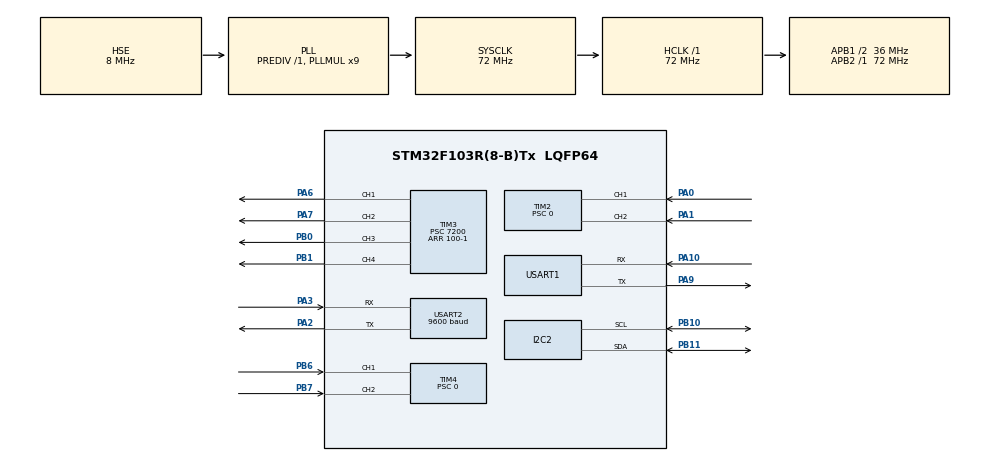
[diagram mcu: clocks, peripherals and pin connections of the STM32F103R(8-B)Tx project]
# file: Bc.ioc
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Mcu.Family=STM32F1
Mcu.Name=STM32F103R(8-B)Tx
Mcu.Package=LQFP64
NVIC.PriorityGroup=NVIC_PRIORITYGROUP_4
NVIC.TIM1_UP_IRQn=true\:1\:0\:true\:false\:true\:true\:true
NVIC.TIM2_IRQn=true\:0\:0\:false\:false\:true\:true\:true
NVIC.TIM3_IRQn=true\:0\:0\:false\:false\:true\:true\:true
NVIC.TIM4_IRQn=true\:0\:0\:false\:false\:true\:true\:true
PA0-WKUP.Signal=S_TIM2_CH1_ETR
PA1.Signal=S_TIM2_CH2
PA10.Mode=Asynchronous
PA10.Signal=USART1_RX
PA13.Mode=Serial_Wire
PA13.Signal=SYS_JTMS-SWDIO
PA14.Mode=Serial_Wire
PA14.Signal=SYS_JTCK-SWCLK
PA2.Mode=Asynchronous
PA2.Signal=USART2_TX
PA3.Mode=Asynchronous
PA3.Signal=USART2_RX
PA6.Signal=S_TIM3_CH1
PA7.Signal=S_TIM3_CH2
PA9.Mode=Asynchronous
PA9.Signal=USART1_TX
PB0.Signal=S_TIM3_CH3
PB1.Signal=S_TIM3_CH4
PB10.Mode=I2C
PB10.Signal=I2C2_SCL
PB11.Mode=I2C
PB11.Signal=I2C2_SDA
PB6.Signal=S_TIM4_CH1
PB7.Signal=S_TIM4_CH2
PD0-OSC_IN.Mode=HSE-External-Oscillator
PD0-OSC_IN.Signal=RCC_OSC_IN
PD1-OSC_OUT.Mode=HSE-External-Oscillator
PD1-OSC_OUT.Signal=RCC_OSC_OUT
ProjectManager.HeapSize=0x200
ProjectManager.StackSize=0x400
ProjectManager.TargetToolchain=MDK-ARM V5.27
RCC.AHBFreq_Value=72000000
RCC.APB1CLKDivider=RCC_HCLK_DIV2
RCC.APB1Freq_Value=36000000
RCC.APB1TimFreq_Value=72000000
RCC.APB2Freq_Value=72000000
RCC.APB2TimFreq_Value=72000000
RCC.HCLKFreq_Value=72000000
RCC.PLLMUL=RCC_PLL_MUL9
RCC.PLLSourceVirtual=RCC_PLLSOURCE_HSE
RCC.SYSCLKFreq_VALUE=72000000
RCC.SYSCLKSource=RCC_SYSCLKSOURCE_PLLCLK
RCC.USBFreq_Value=72000000
SH.S_TIM2_CH1_ETR.0=TIM2_CH1,Encoder_Interface
SH.S_TIM2_CH2.0=TIM2_CH2,Encoder_Interface
SH.S_TIM3_CH1.0=TIM3_CH1,PWM Generation1 CH1
SH.S_TIM3_CH2.0=TIM3_CH2,PWM Generation2 CH2
SH.S_TIM3_CH3.0=TIM3_CH3,PWM Generation3 CH3
SH.S_TIM3_CH4.0=TIM3_CH4,PWM Generation4 CH4
SH.S_TIM4_CH1.0=TIM4_CH1,Encoder_Interface
SH.S_TIM4_CH2.0=TIM4_CH2,Encoder_Interface
TIM1.AutoReloadPreload=TIM_AUTORELOAD_PRELOAD_ENABLE
TIM1.Period=999
TIM1.Prescaler=720
TIM2.AutoReloadPreload=TIM_AUTORELOAD_PRELOAD_DISABLE
TIM2.EncoderMode=TIM_ENCODERMODE_TI12
TIM2.Prescaler=0
TIM3.AutoReloadPreload=TIM_AUTORELOAD_PRELOAD_DISABLE
TIM3.Channel-PWM\ Generation1\ CH1=TIM_CHANNEL_1
TIM3.Channel-PWM\ Generation2\ CH2=TIM_CHANNEL_2
TIM3.Channel-PWM\ Generation3\ CH3=TIM_CHANNEL_3
TIM3.Channel-PWM\ Generation4\ CH4=TIM_CHANNEL_4
TIM3.Period=100-1
TIM3.Prescaler=7200
TIM4.AutoReloadPreload=TIM_AUTORELOAD_PRELOAD_DISABLE
TIM4.EncoderMode=TIM_ENCODERMODE_TI12
TIM4.Prescaler=0
USART1.VirtualMode=VM_ASYNC
USART2.BaudRate=9600
USART2.VirtualMode=VM_ASYNC
VP_TIM1_VS_ClockSourceINT.Mode=Internal
board=custom

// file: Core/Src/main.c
/* USER CODE BEGIN Header */
/**
  ******************************************************************************
  * @file           : main.c
  * @brief          : Main program body
  ******************************************************************************
  * @attention
  *
  * <h2><center>&copy; Copyright (c) 2021 STMicroelectronics.
  * All rights reserved.</center></h2>
  *
  * This software component is licensed by ST under BSD 3-Clause license,
  * the "License"; You may not use this file except in compliance with the
  * License. You may obtain a copy of the License at:
  *                        opensource.org/licenses/BSD-3-Clause
  *
  ******************************************************************************
  */
/* USER CODE END Header */
#include "main.h"
#include "i2c.h"
#include "tim.h"
#include "usart.h"
#include "gpio.h"

/* USER CODE BEGIN Includes */
	#include "bsp_imu.h"
	#include "stdio.h"
	#include "pid.h"
	#include "math.h"
/* USER CODE END Includes */

/* USER CODE BEGIN PV */
fp32 MotorSpeed1 = 0, MotorSpeed2 = 0;//寄存器CNT的值是16位在后面的printf中强转为int
fp32 PWM = 0;
fp32 speed_pid_parameters[] = {10,0.00001,0};// 0.0001
fp32 angle_pid_parameters[] = {0,0,0};//5.8 0 3.41
fp32 site_pid_parameters[] = {0,0,0};//800 0 400
//int16_t Number = 0;
int Target = 10;
fp32 Angle = 0,Dn = 0;
/* USER CODE END PV */

void SystemClock_Config(void);

int main(void)
{

  /* MCU Configuration--------------------------------------------------------*/

  /* Reset of all peripherals, Initializes the Flash interface and the Systick. */
  HAL_Init();

  /* Configure the system clock */
  SystemClock_Config();

  /* Initialize all configured peripherals */
  MX_GPIO_Init();
  MX_I2C2_Init();
  MX_TIM2_Init();
  MX_TIM3_Init();
  MX_TIM4_Init();
  MX_USART1_UART_Init();
  MX_USART2_UART_Init();
  MX_TIM1_Init();
  /* USER CODE BEGIN 2 */
  MPU6050Init();
	HAL_TIM_Base_Start_IT(&htim1);
	HAL_TIM_PWM_Start(&htim3, TIM_CHANNEL_1);	    // TIM3_CH1(pwm)
	HAL_TIM_PWM_Start(&htim3, TIM_CHANNEL_2);	    // TIM3_CH2(pwm)
	HAL_TIM_PWM_Start(&htim3, TIM_CHANNEL_3);	    // TIM3_CH3(pwm)
  HAL_TIM_PWM_Start(&htim3, TIM_CHANNEL_4);	    // TIM3_CH4(pwm)
  HAL_TIM_Encoder_Start(&htim4, TIM_CHANNEL_1); // 电机1开启编码器AB
  HAL_TIM_Encoder_Start(&htim4, TIM_CHANNEL_2); // 电机1开启编码器AB
  HAL_TIM_Encoder_Start(&htim2, TIM_CHANNEL_1); // 电机1开启编码器AB
	HAL_TIM_Encoder_Start(&htim2, TIM_CHANNEL_2); // 电机2开启编码器AB
	PID_Init(&angle, PID_POSITION, angle_pid_parameters, 100, 100);//调？？速度max
  PID_Init(&speed, PID_POSITION, speed_pid_parameters,	100,100);//调？？PWM max
	PID_Init(&site, PID_POSITION, site_pid_parameters, 60000, 60000);//调？？速度max
  /* USER CODE END 2 */

  /* Infinite loop */
  while (1)
  {

    /* USER CODE BEGIN 3 */
		MPU6050ReturnData();
//		if(imu.rol>Angle)
//		{

//		}
//		else if(imu.rol<Angle)
//		{
//			__HAL_TIM_SET_COMPARE(&htim3, TIM_CHANNEL_1, 0);//
//			__HAL_TIM_SET_COMPARE(&htim3, TIM_CHANNEL_2, (int)abs(PWM));
//			__HAL_TIM_SET_COMPARE(&htim3, TIM_CHANNEL_3, 0);
//			__HAL_TIM_SET_COMPARE(&htim3, TIM_CHANNEL_4, (int)abs(PWM));
//		}
		printf("%d,%f,%f,%f\n",mpu_data.gx,MotorSpeed2,imu.rol,PWM);
		//int16_t PWM = angle.out;
		//int16_t PWM = A_PWM + S_PWM;
			//if(abs(PWM) > 80) PWM = 80;
		}
	HAL_Delay(5);
  /* USER CODE END 3 */
}

void SystemClock_Config(void)
{
  RCC_OscInitTypeDef RCC_OscInitStruct = {0};
  RCC_ClkInitTypeDef RCC_ClkInitStruct = {0};

  /** Initializes the RCC Oscillators according to the specified parameters
  * in the RCC_OscInitTypeDef structure.
  */
  RCC_OscInitStruct.OscillatorType = RCC_OSCILLATORTYPE_HSE;
  RCC_OscInitStruct.HSEState = RCC_HSE_ON;
  RCC_OscInitStruct.HSEPredivValue = RCC_HSE_PREDIV_DIV1;
  RCC_OscInitStruct.HSIState = RCC_HSI_ON;
  RCC_OscInitStruct.PLL.PLLState = RCC_PLL_ON;
  RCC_OscInitStruct.PLL.PLLSource = RCC_PLLSOURCE_HSE;
  RCC_OscInitStruct.PLL.PLLMUL = RCC_PLL_MUL9;
  if (HAL_RCC_OscConfig(&RCC_OscInitStruct) != HAL_OK)
  {
    Error_Handler();
  }
  /** Initializes the CPU, AHB and APB buses clocks
  */
  RCC_ClkInitStruct.ClockType = RCC_CLOCKTYPE_HCLK|RCC_CLOCKTYPE_SYSCLK
                              |RCC_CLOCKTYPE_PCLK1|RCC_CLOCKTYPE_PCLK2;
  RCC_ClkInitStruct.SYSCLKSource = RCC_SYSCLKSOURCE_PLLCLK;
  RCC_ClkInitStruct.AHBCLKDivider = RCC_SYSCLK_DIV1;
  RCC_ClkInitStruct.APB1CLKDivider = RCC_HCLK_DIV2;
  RCC_ClkInitStruct.APB2CLKDivider = RCC_HCLK_DIV1;

  if (HAL_RCC_ClockConfig(&RCC_ClkInitStruct, FLASH_LATENCY_2) != HAL_OK)
  {
    Error_Handler();
  }
}

/* USER CODE BEGIN 4 */
int fputc(int ch, FILE *f)
{
	HAL_UART_Transmit(&huart1,(uint8_t *)&ch,1,HAL_MAX_DELAY);
	return ch;
}

void HAL_TIM_PeriodElapsedCallback(TIM_HandleTypeDef *htim)
{//10ms
	if(htim ->Instance == TIM1)
	{
				MotorSpeed1 = __HAL_TIM_GET_COUNTER(&htim2);
				printf("%d,%f,%f,%f\n",mpu_data.gx,MotorSpeed1,imu.rol,PWM);
//			MotorSpeed1 = __HAL_TIM_GET_COUNTER(&htim2);//获得10ms采样脉冲cm/s
//			//Number += __HAL_TIM_GET_COUNTER(&htim2);
//			MotorSpeed1 = MotorSpeed1/48960*2*3.14*65/10*100;
//			MotorSpeed2 = __HAL_TIM_GET_COUNTER(&htim4);//只要测到脉冲就行，不用在定时器xS里获取值相除获取速度
//			MotorSpeed2 = MotorSpeed2/48960*2*3.14*65/10*100;
		  __HAL_TIM_SET_COUNTER(&htim2,0);  // 计数器清零
//		  __HAL_TIM_SET_COUNTER(&htim4,0);  // 计数器清零
//			PID_Calc(&speed, (MotorSpeed1 + MotorSpeed2)/10/2,0);
//			PID_Calc(&angle, imu.rol/2, Angle);
//			PWM = speed.out+ angle.out;
//		  if(abs(PWM)>=100) PWM = 100;
		PWM = 100;

__HAL_TIM_SET_COMPARE(&htim3, TIM_CHANNEL_1, abs(PWM));
			__HAL_TIM_SET_COMPARE(&htim3, TIM_CHANNEL_2, 0);
			__HAL_TIM_SET_COMPARE(&htim3, TIM_CHANNEL_3, abs(PWM));
			__HAL_TIM_SET_COMPARE(&htim3, TIM_CHANNEL_4, 0);
//		if(imu.rol > Angle+Dn)
//		{
//			__HAL_TIM_SET_COMPARE(&htim3, TIM_CHANNEL_1, abs(PWM));
//			__HAL_TIM_SET_COMPARE(&htim3, TIM_CHANNEL_2, 0);
//			__HAL_TIM_SET_COMPARE(&htim3, TIM_CHANNEL_3, abs(PWM));
//			__HAL_TIM_SET_COMPARE(&htim3, TIM_CHANNEL_4, 0);
//		}
//		else if(imu.rol < Angle-Dn)
//		{
//			__HAL_TIM_SET_COMPARE(&htim3, TIM_CHANNEL_1, 0);
//			__HAL_TIM_SET_COMPARE(&htim3, TIM_CHANNEL_2, abs(PWM));
//			__HAL_TIM_SET_COMPARE(&htim3, TIM_CHANNEL_3, 0);
//			__HAL_TIM_SET_COMPARE(&htim3, TIM_CHANNEL_4, abs(PWM));
//		}
//			//PID_Calc(&site, Number, 48960/2);//5:角度中值
//		//if(Number>(48960/2))Number = 0;
//			//PID_Calc(&angle, imu.rol, 2);//2:角度中值
//			//PID_Calc(&speed, (MotorSpeed1 + MotorSpeed2)/2,angle.out);//40基本满PWM
//	}
}

/* USER CODE END 4 */

void Error_Handler(void)
{
  __disable_irq();
  while (1)
  {
  }
}

/************************ (C) COPYRIGHT STMicroelectronics *****END OF FILE****/
